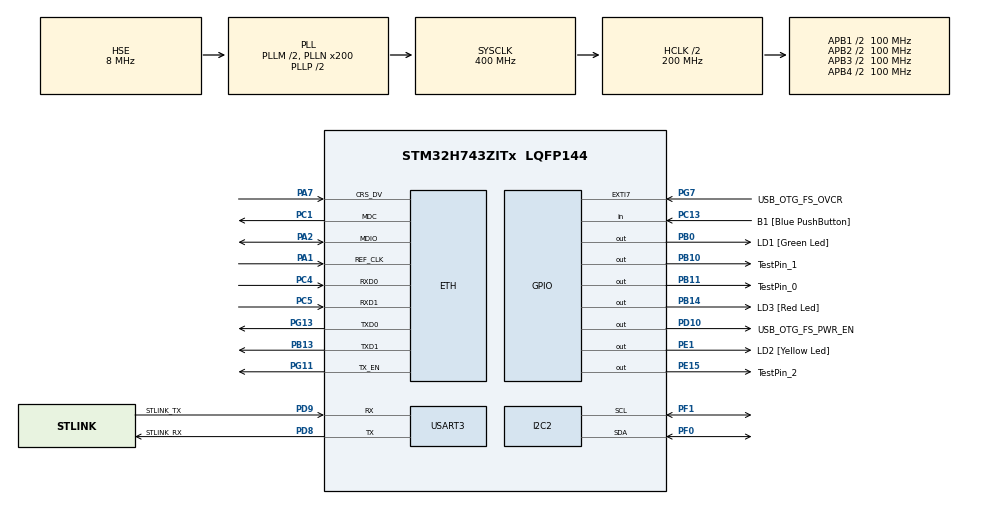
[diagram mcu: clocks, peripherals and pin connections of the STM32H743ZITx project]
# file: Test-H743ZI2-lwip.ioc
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CORTEX_M7.AccessPermission-Cortex_Memory_Protection_Unit_Region2_Settings=MPU_REGION_FULL_ACCESS
CORTEX_M7.BaseAddress-Cortex_Memory_Protection_Unit_Region2_Settings=0x30040000
CORTEX_M7.CPU_DCache=Enabled
CORTEX_M7.CPU_ICache=Enabled
CORTEX_M7.DisableExec-Cortex_Memory_Protection_Unit_Region0_Settings=MPU_INSTRUCTION_ACCESS_DISABLE
CORTEX_M7.DisableExec-Cortex_Memory_Protection_Unit_Region2_Settings=MPU_INSTRUCTION_ACCESS_DISABLE
CORTEX_M7.Enable-Cortex_Memory_Protection_Unit_Region0_Settings=MPU_REGION_ENABLE
CORTEX_M7.Enable-Cortex_Memory_Protection_Unit_Region2_Settings=MPU_REGION_ENABLE
CORTEX_M7.IsBufferable-Cortex_Memory_Protection_Unit_Region2_Settings=MPU_ACCESS_BUFFERABLE
CORTEX_M7.IsShareable-Cortex_Memory_Protection_Unit_Region0_Settings=MPU_ACCESS_SHAREABLE
CORTEX_M7.IsShareable-Cortex_Memory_Protection_Unit_Region2_Settings=MPU_ACCESS_SHAREABLE
CORTEX_M7.MPU_Control=MPU_PRIVILEGED_DEFAULT
CORTEX_M7.Size-Cortex_Memory_Protection_Unit_Region0_Settings=MPU_REGION_SIZE_4GB
CORTEX_M7.Size-Cortex_Memory_Protection_Unit_Region2_Settings=MPU_REGION_SIZE_512B
CORTEX_M7.SubRegionDisable-Cortex_Memory_Protection_Unit_Region0_Settings=0x87
ETH.MediaInterface=HAL_ETH_RMII_MODE
ETH.RxDescAddress=0x30040100
ETH.TxDescAddress=0x30040000
I2C2.Timing=0x10C0ECFF
LWIP.API_LIB_DEBUG=LWIP_DBG_OFF
LWIP.BSP.number=1
LWIP.DHCP_DEBUG=LWIP_DBG_ON
LWIP.ETHARP_DEBUG=LWIP_DBG_OFF
LWIP.ICMP_DEBUG=LWIP_DBG_ON
LWIP.IGMP_DEBUG=LWIP_DBG_OFF
LWIP.INET_DEBUG=LWIP_DBG_OFF
LWIP.IP_ADDRESS=192.168.100.208
LWIP.LWIP_DHCP=1
LWIP.LWIP_RAM_HEAP_POINTER=0x30020000
LWIP.LWIP_STATS=1
LWIP.MEMP_DEBUG=LWIP_DBG_OFF
LWIP.MEM_DEBUG=LWIP_DBG_OFF
LWIP.MEM_SIZE=131048
LWIP.NETIF_DEBUG=LWIP_DBG_OFF
LWIP.NETMASK_ADDRESS=255.255.255.000
LWIP.PBUF_DEBUG=LWIP_DBG_OFF
LWIP.SYS_DEBUG=LWIP_DBG_OFF
LWIP.Version=v2.1.2_Cube
LWIP0.BSP.STBoard=false
LWIP0.BSP.api=BSP_COMPONENT_DRIVER
LWIP0.BSP.component=LAN8742
LWIP0.BSP.instance=LAN8742
LWIP0.BSP.name=Driver_PHY
LWIP0.BSP.semaphore=S_LAN8742
LWIP0.BSP.solution=LAN8742
Mcu.Family=STM32H7
Mcu.Name=STM32H743ZITx
Mcu.Package=LQFP144
NVIC.PriorityGroup=NVIC_PRIORITYGROUP_4
PA1.GPIO_Speed=GPIO_SPEED_FREQ_VERY_HIGH
PA1.Mode=RMII
PA1.Signal=ETH_REF_CLK
PA11.Signal=USB_OTG_FS_DM
PA12.Signal=USB_OTG_FS_DP
PA2.GPIO_Speed=GPIO_SPEED_FREQ_VERY_HIGH
PA2.Mode=RMII
PA2.Signal=ETH_MDIO
PA7.GPIO_Speed=GPIO_SPEED_FREQ_VERY_HIGH
PA7.Mode=RMII
PA7.Signal=ETH_CRS_DV
PA8.Signal=USB_OTG_FS_SOF
PA9.Signal=USB_OTG_FS_VBUS
PB0.GPIO_Label=LD1 [Green Led]
PB0.Signal=GPIO_Output
PB10.GPIO_Label=TestPin_1
PB10.Signal=GPIO_Output
PB11.GPIO_Label=TestPin_0
PB11.Signal=GPIO_Output
PB13.GPIO_Speed=GPIO_SPEED_FREQ_VERY_HIGH
PB13.Mode=RMII
PB13.Signal=ETH_TXD1
PB14.GPIO_Label=LD3 [Red Led]
PB14.Signal=GPIO_Output
PC1.GPIO_Speed=GPIO_SPEED_FREQ_VERY_HIGH
PC1.Mode=RMII
PC1.Signal=ETH_MDC
PC13.GPIO_Label=B1 [Blue PushButton]
PC13.Signal=GPIO_Input
PC14-OSC32_IN\ (OSC32_IN).Mode=LSE-External-Oscillator
PC14-OSC32_IN\ (OSC32_IN).Signal=RCC_OSC32_IN
PC15-OSC32_OUT\ (OSC32_OUT).Mode=LSE-External-Oscillator
PC15-OSC32_OUT\ (OSC32_OUT).Signal=RCC_OSC32_OUT
PC4.GPIO_Speed=GPIO_SPEED_FREQ_VERY_HIGH
PC4.Mode=RMII
PC4.Signal=ETH_RXD0
PC5.GPIO_Speed=GPIO_SPEED_FREQ_VERY_HIGH
PC5.Mode=RMII
PC5.Signal=ETH_RXD1
PD10.GPIO_Label=USB_OTG_FS_PWR_EN
PD10.Signal=GPIO_Output
PD8.GPIO_Label=STLINK_RX
PD8.Mode=Asynchronous
PD8.Signal=USART3_TX
PD9.GPIO_Label=STLINK_TX
PD9.Mode=Asynchronous
PD9.Signal=USART3_RX
PE1.GPIO_Label=LD2 [Yellow Led]
PE1.Signal=GPIO_Output
PE15.GPIO_Label=TestPin_2
PE15.Signal=GPIO_Output
PF0.GPIO_Pu=GPIO_NOPULL
PF0.Mode=I2C
PF0.Signal=I2C2_SDA
PF1.Mode=I2C
PF1.Signal=I2C2_SCL
PG11.GPIO_Speed=GPIO_SPEED_FREQ_VERY_HIGH
PG11.Mode=RMII
PG11.Signal=ETH_TX_EN
PG13.GPIO_Speed=GPIO_SPEED_FREQ_VERY_HIGH
PG13.Mode=RMII
PG13.Signal=ETH_TXD0
PG7.GPIO_Label=USB_OTG_FS_OVCR
PG7.Signal=GPXTI7
PH0-OSC_IN\ (PH0).Mode=HSE-External-Clock-Source
PH0-OSC_IN\ (PH0).Signal=RCC_OSC_IN
PH1-OSC_OUT\ (PH1).Signal=RCC_OSC_OUT
ProjectManager.HeapSize=0x200
ProjectManager.StackSize=0x400
ProjectManager.TargetToolchain=STM32CubeIDE
RCC.ADCFreq_Value=16125000
RCC.APB1Freq_Value=100000000
RCC.APB2Freq_Value=100000000
RCC.APB3Freq_Value=100000000
RCC.APB4Freq_Value=100000000
RCC.CortexFreq_Value=400000000
RCC.D1PPRE=RCC_APB3_DIV2
RCC.D2PPRE1=RCC_APB1_DIV2
RCC.D2PPRE2=RCC_APB2_DIV2
RCC.D3PPRE=RCC_APB4_DIV2
RCC.DIVM1=2
RCC.DIVN1=200
RCC.DIVQ1=4
RCC.EnbaleCSS=true
RCC.HCLKFreq_Value=200000000
RCC.HPRE=RCC_HCLK_DIV2
RCC.HSE_VALUE=8000000
RCC.PLLFRACN=0
RCC.PLLSourceVirtual=RCC_PLLSOURCE_HSE
RCC.PWR_Regulator_Voltage_Scale=PWR_REGULATOR_VOLTAGE_SCALE1
RCC.SYSCLKFreq_VALUE=400000000
RCC.SYSCLKSource=RCC_SYSCLKSOURCE_PLLCLK
RCC.USBFreq_Value=200000000
USART3.VirtualMode-Asynchronous=VM_ASYNC
VP_LWIP_VS_Enabled.Mode=Enabled
board=NUCLEO-H743ZI2

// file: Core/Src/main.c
/* USER CODE BEGIN Header */
/**
  ******************************************************************************
  * @file           : main.c
  * @brief          : Main program body
  ******************************************************************************
  * @attention
  *
  * Copyright (c) 2023 STMicroelectronics.
  * All rights reserved.
  *
  * This software is licensed under terms that can be found in the LICENSE file
  * in the root directory of this software component.
  * If no LICENSE file comes with this software, it is provided AS-IS.
  *
  ******************************************************************************
  */
/* USER CODE END Header */
#include "main.h"
#include "i2c.h"
#include "usart.h"
#include "gpio.h"

/* USER CODE BEGIN Includes */
#include "lwip.h"
/* USER CODE END Includes */

/* USER CODE BEGIN PV */
extern struct netif gnetif;

/* USER CODE END PV */

void SystemClock_Config(void);
static void MPU_Config(void);

/* USER CODE BEGIN 0 */
int _write(int file, char *ptr, int len)
{
  HAL_UART_Transmit(&huart3, (uint8_t*) ptr, len, 10000);
        return len;
}
/* USER CODE END 0 */

int main(void)
{
  /* USER CODE BEGIN 1 */
  uint32_t cnt = 0;

  /* USER CODE END 1 */

  /* MPU Configuration--------------------------------------------------------*/
  MPU_Config();

  /* Enable I-Cache---------------------------------------------------------*/
  SCB_EnableICache();

  /* Enable D-Cache---------------------------------------------------------*/
  SCB_EnableDCache();

  /* MCU Configuration--------------------------------------------------------*/

  /* Reset of all peripherals, Initializes the Flash interface and the Systick. */
  HAL_Init();

  /* Configure the system clock */
  SystemClock_Config();

  /* Initialize all configured peripherals */
  MX_GPIO_Init();
  MX_USART3_UART_Init();
  MX_I2C2_Init();
  /* USER CODE BEGIN 2 */
  HAL_GPIO_WritePin(TestPin_0_GPIO_Port, TestPin_0_Pin, GPIO_PIN_RESET);
  HAL_GPIO_WritePin(TestPin_1_GPIO_Port, TestPin_1_Pin, GPIO_PIN_RESET);

  HAL_Delay(100);
  Custom_MX_LWIP_Init();
  //MX_LWIP_Init();

  printf("hello from H743ZI2\n");
  /* USER CODE END 2 */

  /* Infinite loop */
  while (1)
  {

    /* USER CODE BEGIN 3 */
    MX_LWIP_Process();
    cnt++;
      // Read PHY link status

    if(netif_is_link_up(&gnetif) )
    {
      if(!dhcp_supplied_address(&gnetif) && cnt >= 30000000)
      {
        // Link status = disconnected
        netif_set_down(&gnetif);
        netif_set_link_down(&gnetif);

        HAL_Delay(2000);
        MX_LWIP_Process();

        // Link status = connected
        netif_set_up(&gnetif);
        netif_set_link_up(&gnetif);

        dhcp_start(&gnetif);
        cnt = 0;
      }
    }
  }
  /* USER CODE END 3 */
}

void SystemClock_Config(void)
{
  RCC_OscInitTypeDef RCC_OscInitStruct = {0};
  RCC_ClkInitTypeDef RCC_ClkInitStruct = {0};

  /** Supply configuration update enable
  */
  HAL_PWREx_ConfigSupply(PWR_LDO_SUPPLY);

  /** Configure the main internal regulator output voltage
  */
  __HAL_PWR_VOLTAGESCALING_CONFIG(PWR_REGULATOR_VOLTAGE_SCALE1);

  while(!__HAL_PWR_GET_FLAG(PWR_FLAG_VOSRDY)) {}

  /** Initializes the RCC Oscillators according to the specified parameters
  * in the RCC_OscInitTypeDef structure.
  */
  RCC_OscInitStruct.OscillatorType = RCC_OSCILLATORTYPE_HSE;
  RCC_OscInitStruct.HSEState = RCC_HSE_BYPASS;
  RCC_OscInitStruct.PLL.PLLState = RCC_PLL_ON;
  RCC_OscInitStruct.PLL.PLLSource = RCC_PLLSOURCE_HSE;
  RCC_OscInitStruct.PLL.PLLM = 2;
  RCC_OscInitStruct.PLL.PLLN = 200;
  RCC_OscInitStruct.PLL.PLLP = 2;
  RCC_OscInitStruct.PLL.PLLQ = 4;
  RCC_OscInitStruct.PLL.PLLR = 2;
  RCC_OscInitStruct.PLL.PLLRGE = RCC_PLL1VCIRANGE_2;
  RCC_OscInitStruct.PLL.PLLVCOSEL = RCC_PLL1VCOWIDE;
  RCC_OscInitStruct.PLL.PLLFRACN = 0;
  if (HAL_RCC_OscConfig(&RCC_OscInitStruct) != HAL_OK)
  {
    Error_Handler();
  }

  /** Initializes the CPU, AHB and APB buses clocks
  */
  RCC_ClkInitStruct.ClockType = RCC_CLOCKTYPE_HCLK|RCC_CLOCKTYPE_SYSCLK
                              |RCC_CLOCKTYPE_PCLK1|RCC_CLOCKTYPE_PCLK2
                              |RCC_CLOCKTYPE_D3PCLK1|RCC_CLOCKTYPE_D1PCLK1;
  RCC_ClkInitStruct.SYSCLKSource = RCC_SYSCLKSOURCE_PLLCLK;
  RCC_ClkInitStruct.SYSCLKDivider = RCC_SYSCLK_DIV1;
  RCC_ClkInitStruct.AHBCLKDivider = RCC_HCLK_DIV2;
  RCC_ClkInitStruct.APB3CLKDivider = RCC_APB3_DIV2;
  RCC_ClkInitStruct.APB1CLKDivider = RCC_APB1_DIV2;
  RCC_ClkInitStruct.APB2CLKDivider = RCC_APB2_DIV2;
  RCC_ClkInitStruct.APB4CLKDivider = RCC_APB4_DIV2;

  if (HAL_RCC_ClockConfig(&RCC_ClkInitStruct, FLASH_LATENCY_2) != HAL_OK)
  {
    Error_Handler();
  }

  /** Enables the Clock Security System
  */
  HAL_RCC_EnableCSS();
}

/* MPU Configuration */

void MPU_Config(void)
{
  MPU_Region_InitTypeDef MPU_InitStruct = {0};

  /* Disables the MPU */
  HAL_MPU_Disable();

  /** Initializes and configures the Region and the memory to be protected
  */
  MPU_InitStruct.Enable = MPU_REGION_ENABLE;
  MPU_InitStruct.Number = MPU_REGION_NUMBER0;
  MPU_InitStruct.BaseAddress = 0x0;
  MPU_InitStruct.Size = MPU_REGION_SIZE_4GB;
  MPU_InitStruct.SubRegionDisable = 0x87;
  MPU_InitStruct.TypeExtField = MPU_TEX_LEVEL0;
  MPU_InitStruct.AccessPermission = MPU_REGION_NO_ACCESS;
  MPU_InitStruct.DisableExec = MPU_INSTRUCTION_ACCESS_DISABLE;
  MPU_InitStruct.IsShareable = MPU_ACCESS_SHAREABLE;
  MPU_InitStruct.IsCacheable = MPU_ACCESS_NOT_CACHEABLE;
  MPU_InitStruct.IsBufferable = MPU_ACCESS_NOT_BUFFERABLE;

  HAL_MPU_ConfigRegion(&MPU_InitStruct);

  /** Initializes and configures the Region and the memory to be protected
  */
  MPU_InitStruct.Number = MPU_REGION_NUMBER2;
  MPU_InitStruct.BaseAddress = 0x30040000;
  MPU_InitStruct.Size = MPU_REGION_SIZE_512B;
  MPU_InitStruct.SubRegionDisable = 0x0;
  MPU_InitStruct.AccessPermission = MPU_REGION_FULL_ACCESS;
  MPU_InitStruct.IsBufferable = MPU_ACCESS_BUFFERABLE;

  HAL_MPU_ConfigRegion(&MPU_InitStruct);
  /* Enables the MPU */
  HAL_MPU_Enable(MPU_PRIVILEGED_DEFAULT);

}

void Error_Handler(void)
{
  __disable_irq();
  while (1)
  {
  }
}
